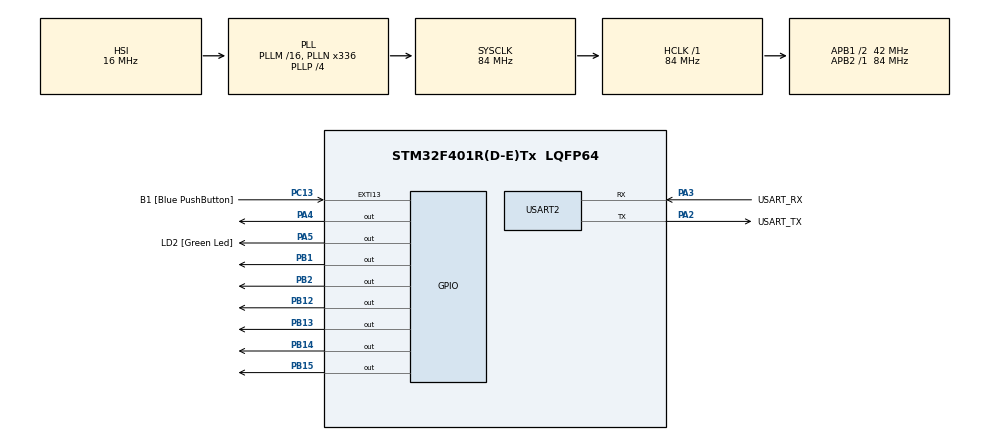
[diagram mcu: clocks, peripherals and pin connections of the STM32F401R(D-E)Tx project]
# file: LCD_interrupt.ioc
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Mcu.Family=STM32F4
Mcu.Name=STM32F401R(D-E)Tx
Mcu.Package=LQFP64
NVIC.PriorityGroup=NVIC_PRIORITYGROUP_0
NVIC.TIM2_IRQn=true\:0\:0\:false\:false\:true\:true\:true\:true
PA13.GPIO_Label=TMS
PA13.Mode=Serial_Wire
PA13.Signal=SYS_JTMS-SWDIO
PA14.GPIO_Label=TCK
PA14.Mode=Serial_Wire
PA14.Signal=SYS_JTCK-SWCLK
PA2.GPIO_Label=USART_TX
PA2.GPIO_Mode=GPIO_MODE_AF_PP
PA2.GPIO_PuPd=GPIO_NOPULL
PA2.GPIO_Speed=GPIO_SPEED_FREQ_LOW
PA2.Mode=Asynchronous
PA2.Signal=USART2_TX
PA3.GPIO_Label=USART_RX
PA3.GPIO_Mode=GPIO_MODE_AF_PP
PA3.GPIO_PuPd=GPIO_NOPULL
PA3.GPIO_Speed=GPIO_SPEED_FREQ_LOW
PA3.Mode=Asynchronous
PA3.Signal=USART2_RX
PA4.Signal=GPIO_Output
PA5.GPIO_Label=LD2 [Green Led]
PA5.GPIO_Mode=GPIO_MODE_OUTPUT_PP
PA5.GPIO_PuPd=GPIO_NOPULL
PA5.GPIO_Speed=GPIO_SPEED_FREQ_LOW
PA5.Signal=GPIO_Output
PB1.Signal=GPIO_Output
PB12.Signal=GPIO_Output
PB13.Signal=GPIO_Output
PB14.Signal=GPIO_Output
PB15.Signal=GPIO_Output
PB2.Signal=GPIO_Output
PB3.GPIO_Label=SWO
PB3.Signal=SYS_JTDO-SWO
PC13-ANTI_TAMP.GPIO_Label=B1 [Blue PushButton]
PC13-ANTI_TAMP.GPIO_ModeDefaultEXTI=GPIO_MODE_IT_FALLING
PC13-ANTI_TAMP.GPIO_PuPd=GPIO_NOPULL
PC13-ANTI_TAMP.Signal=GPXTI13
PC14-OSC32_IN.Mode=LSE-External-Oscillator
PC14-OSC32_IN.Signal=RCC_OSC32_IN
PC15-OSC32_OUT.Mode=LSE-External-Oscillator
PC15-OSC32_OUT.Signal=RCC_OSC32_OUT
PH0\ -\ OSC_IN.Mode=HSE-External-Clock-Source
PH0\ -\ OSC_IN.Signal=RCC_OSC_IN
PH1\ -\ OSC_OUT.Mode=HSE-External-Clock-Source
PH1\ -\ OSC_OUT.Signal=RCC_OSC_OUT
ProjectManager.HeapSize=0x200
ProjectManager.StackSize=0x400
ProjectManager.TargetToolchain=STM32CubeIDE
RCC.48MHZClocksFreq_Value=48000000
RCC.AHBFreq_Value=84000000
RCC.APB1CLKDivider=RCC_HCLK_DIV2
RCC.APB1Freq_Value=42000000
RCC.APB1TimFreq_Value=84000000
RCC.APB2Freq_Value=84000000
RCC.APB2TimFreq_Value=84000000
RCC.CortexFreq_Value=84000000
RCC.HCLKFreq_Value=84000000
RCC.HSE_VALUE=8000000
RCC.HSI_VALUE=16000000
RCC.PLLN=336
RCC.PLLP=RCC_PLLP_DIV4
RCC.PLLQ=7
RCC.SYSCLKFreq_VALUE=84000000
RCC.SYSCLKSource=RCC_SYSCLKSOURCE_PLLCLK
RCC.VCOOutputFreq_Value=336000000
TIM2.Period=10000-1
TIM2.Prescaler=8400-1
USART2.VirtualMode=VM_ASYNC
VP_TIM2_VS_ClockSourceINT.Mode=Internal
board=NUCLEO-F401RE

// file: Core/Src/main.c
/* USER CODE BEGIN Header */
/**
  ******************************************************************************
  * @file           : main.c
  * @brief          : Main program body
  ******************************************************************************
  * @attention
  *
  * Copyright (c) 2023 STMicroelectronics.
  * All rights reserved.
  *
  * This software is licensed under terms that can be found in the LICENSE file
  * in the root directory of this software component.
  * If no LICENSE file comes with this software, it is provided AS-IS.
  *
  ******************************************************************************
  */
/* USER CODE END Header */
#include "main.h"
#include "stdio.h"
#include "string.h"
#include "PMDB16_LCD.h"

TIM_HandleTypeDef htim2;

UART_HandleTypeDef huart2;

/* USER CODE BEGIN PV */
char my_mate[5][64];
int i, start;

/* USER CODE END PV */

void SystemClock_Config(void);
static void MX_GPIO_Init(void);
static void MX_USART2_UART_Init(void);
static void MX_TIM2_Init(void);

int main(void)
{

  /* MCU Configuration--------------------------------------------------------*/

  /* Reset of all peripherals, Initializes the Flash interface and the Systick. */
  HAL_Init();

  /* Configure the system clock */
  SystemClock_Config();

  /* Initialize all configured peripherals */
  MX_GPIO_Init();
  MX_USART2_UART_Init();
  MX_TIM2_Init();
  /* USER CODE BEGIN 2 */
  lcd_initialize();
  lcd_backlight_ON();
  start = 1;
  strcpy(my_mate[0], "SANDRINO");
  strcpy(my_mate[1], "FRANCESCO");
  strcpy(my_mate[2], "ELEONORA");
  strcpy(my_mate[3], "ELIA");
  strcpy(my_mate[4], "RICCARDO");
  HAL_TIM_Base_Start_IT(&htim2);

  /* USER CODE END 2 */

  /* Infinite loop */
  while (1)
  {

  }
}

void SystemClock_Config(void)
{
  RCC_OscInitTypeDef RCC_OscInitStruct = {0};
  RCC_ClkInitTypeDef RCC_ClkInitStruct = {0};

  /** Configure the main internal regulator output voltage
  */
  __HAL_RCC_PWR_CLK_ENABLE();
  __HAL_PWR_VOLTAGESCALING_CONFIG(PWR_REGULATOR_VOLTAGE_SCALE2);

  /** Initializes the RCC Oscillators according to the specified parameters
  * in the RCC_OscInitTypeDef structure.
  */
  RCC_OscInitStruct.OscillatorType = RCC_OSCILLATORTYPE_HSI;
  RCC_OscInitStruct.HSIState = RCC_HSI_ON;
  RCC_OscInitStruct.HSICalibrationValue = RCC_HSICALIBRATION_DEFAULT;
  RCC_OscInitStruct.PLL.PLLState = RCC_PLL_ON;
  RCC_OscInitStruct.PLL.PLLSource = RCC_PLLSOURCE_HSI;
  RCC_OscInitStruct.PLL.PLLM = 16;
  RCC_OscInitStruct.PLL.PLLN = 336;
  RCC_OscInitStruct.PLL.PLLP = RCC_PLLP_DIV4;
  RCC_OscInitStruct.PLL.PLLQ = 7;
  if (HAL_RCC_OscConfig(&RCC_OscInitStruct) != HAL_OK)
  {
    Error_Handler();
  }

  /** Initializes the CPU, AHB and APB buses clocks
  */
  RCC_ClkInitStruct.ClockType = RCC_CLOCKTYPE_HCLK|RCC_CLOCKTYPE_SYSCLK
                              |RCC_CLOCKTYPE_PCLK1|RCC_CLOCKTYPE_PCLK2;
  RCC_ClkInitStruct.SYSCLKSource = RCC_SYSCLKSOURCE_PLLCLK;
  RCC_ClkInitStruct.AHBCLKDivider = RCC_SYSCLK_DIV1;
  RCC_ClkInitStruct.APB1CLKDivider = RCC_HCLK_DIV2;
  RCC_ClkInitStruct.APB2CLKDivider = RCC_HCLK_DIV1;

  if (HAL_RCC_ClockConfig(&RCC_ClkInitStruct, FLASH_LATENCY_2) != HAL_OK)
  {
    Error_Handler();
  }
}

static void MX_TIM2_Init(void)
{

  TIM_ClockConfigTypeDef sClockSourceConfig = {0};
  TIM_MasterConfigTypeDef sMasterConfig = {0};

  htim2.Instance = TIM2;
  htim2.Init.Prescaler = 8400-1;
  htim2.Init.CounterMode = TIM_COUNTERMODE_UP;
  htim2.Init.Period = 10000-1;
  htim2.Init.ClockDivision = TIM_CLOCKDIVISION_DIV1;
  htim2.Init.AutoReloadPreload = TIM_AUTORELOAD_PRELOAD_DISABLE;
  if (HAL_TIM_Base_Init(&htim2) != HAL_OK)
  {
    Error_Handler();
  }
  sClockSourceConfig.ClockSource = TIM_CLOCKSOURCE_INTERNAL;
  if (HAL_TIM_ConfigClockSource(&htim2, &sClockSourceConfig) != HAL_OK)
  {
    Error_Handler();
  }
  sMasterConfig.MasterOutputTrigger = TIM_TRGO_RESET;
  sMasterConfig.MasterSlaveMode = TIM_MASTERSLAVEMODE_DISABLE;
  if (HAL_TIMEx_MasterConfigSynchronization(&htim2, &sMasterConfig) != HAL_OK)
  {
    Error_Handler();
  }

}

static void MX_USART2_UART_Init(void)
{

  huart2.Instance = USART2;
  huart2.Init.BaudRate = 115200;
  huart2.Init.WordLength = UART_WORDLENGTH_8B;
  huart2.Init.StopBits = UART_STOPBITS_1;
  huart2.Init.Parity = UART_PARITY_NONE;
  huart2.Init.Mode = UART_MODE_TX_RX;
  huart2.Init.HwFlowCtl = UART_HWCONTROL_NONE;
  huart2.Init.OverSampling = UART_OVERSAMPLING_16;
  if (HAL_UART_Init(&huart2) != HAL_OK)
  {
    Error_Handler();
  }

}

static void MX_GPIO_Init(void)
{
  GPIO_InitTypeDef GPIO_InitStruct = {0};

  /* GPIO Ports Clock Enable */
  __HAL_RCC_GPIOC_CLK_ENABLE();
  __HAL_RCC_GPIOH_CLK_ENABLE();
  __HAL_RCC_GPIOA_CLK_ENABLE();
  __HAL_RCC_GPIOB_CLK_ENABLE();

  /*Configure GPIO pin Output Level */
  HAL_GPIO_WritePin(GPIOA, GPIO_PIN_4|LD2_Pin, GPIO_PIN_RESET);

  /*Configure GPIO pin Output Level */
  HAL_GPIO_WritePin(GPIOB, GPIO_PIN_1|GPIO_PIN_2|GPIO_PIN_12|GPIO_PIN_13
                          |GPIO_PIN_14|GPIO_PIN_15, GPIO_PIN_RESET);

  /*Configure GPIO pin : B1_Pin */
  GPIO_InitStruct.Pin = B1_Pin;
  GPIO_InitStruct.Mode = GPIO_MODE_IT_FALLING;
  GPIO_InitStruct.Pull = GPIO_NOPULL;
  HAL_GPIO_Init(B1_GPIO_Port, &GPIO_InitStruct);

  /*Configure GPIO pins : PA4 LD2_Pin */
  GPIO_InitStruct.Pin = GPIO_PIN_4|LD2_Pin;
  GPIO_InitStruct.Mode = GPIO_MODE_OUTPUT_PP;
  GPIO_InitStruct.Pull = GPIO_NOPULL;
  GPIO_InitStruct.Speed = GPIO_SPEED_FREQ_LOW;
  HAL_GPIO_Init(GPIOA, &GPIO_InitStruct);

  /*Configure GPIO pins : PB1 PB2 PB12 PB13
                           PB14 PB15 */
  GPIO_InitStruct.Pin = GPIO_PIN_1|GPIO_PIN_2|GPIO_PIN_12|GPIO_PIN_13
                          |GPIO_PIN_14|GPIO_PIN_15;
  GPIO_InitStruct.Mode = GPIO_MODE_OUTPUT_PP;
  GPIO_InitStruct.Pull = GPIO_NOPULL;
  GPIO_InitStruct.Speed = GPIO_SPEED_FREQ_LOW;
  HAL_GPIO_Init(GPIOB, &GPIO_InitStruct);

}

/* USER CODE BEGIN 4 */
void HAL_TIM_PeriodElapsedCallback(TIM_HandleTypeDef *htim){
	if(htim == &htim2){
		if(start == 1){
			  		  start = 0;
			  		  lcd_println(my_mate[0], 1);
			  	  }
			  else if(start == 0 && i < sizeof(my_mate)/sizeof(my_mate[0])){
				  lcd_println(my_mate[i-1], 0);
				  lcd_println(my_mate[i], 1);
			  }
			  else if(start == 0 && i == sizeof(my_mate)/sizeof(my_mate[0])){
				  lcd_println(my_mate[i-1], 0);
				  lcd_println(my_mate[0], 1);
			  }
		i++;
		if(i > sizeof(my_mate)/sizeof(my_mate[0])){
			i = 1;
		}
	}
}
/* USER CODE END 4 */

void Error_Handler(void)
{
  __disable_irq();
  while (1)
  {
  }
}
